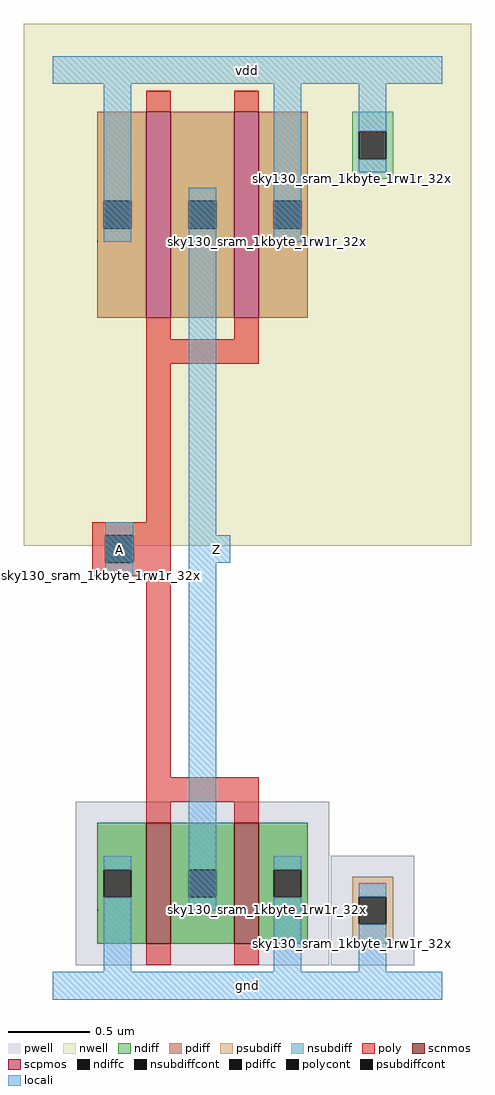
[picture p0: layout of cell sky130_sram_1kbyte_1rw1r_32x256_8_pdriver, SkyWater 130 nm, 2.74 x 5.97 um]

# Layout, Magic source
magic
tech sky130A
magscale 1 2
<< nwell >>
rect -36 538 512 1177
<< locali >>
rect 0 1103 476 1137
rect 64 501 98 567
rect 183 517 217 551
rect 0 -17 476 17
use sky130_sram_1kbyte_1rw1r_32x256_8_pinv  sky130_sram_1kbyte_1rw1r_32x256_8_pinv_0
transform 1 0 0 0 1 0
box -36 -17 512 1177
<< labels >>
rlabel locali s 200 534 200 534 4 Z
port 1 nsew
rlabel locali s 81 534 81 534 4 A
port 2 nsew
rlabel locali s 238 0 238 0 4 gnd
port 3 nsew
rlabel locali s 238 1120 238 1120 4 vdd
port 4 nsew
<< properties >>
string FIXED_BBOX 0 0 476 1120
string GDS_FILE $PDKPATH/libs.ref/sky130_sram_macros/gds/sky130_sram_1kbyte_1rw1r_32x256_8.gds
string GDS_END 62650
string GDS_START 61822
<< end >>

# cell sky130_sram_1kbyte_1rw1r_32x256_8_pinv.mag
magic
tech sky130A
magscale 1 2
<< nwell >>
rect -36 538 512 1177
<< pwell >>
rect 340 25 442 159
<< psubdiff >>
rect 366 109 416 133
rect 366 75 374 109
rect 408 75 416 109
rect 366 51 416 75
<< nsubdiff >>
rect 366 1045 416 1069
rect 366 1011 374 1045
rect 408 1011 416 1045
rect 366 987 416 1011
<< psubdiffcont >>
rect 374 75 408 109
<< nsubdiffcont >>
rect 374 1011 408 1045
<< poly >>
rect 114 567 144 761
rect 48 551 144 567
rect 48 517 64 551
rect 98 517 144 551
rect 48 501 144 517
rect 114 255 144 501
<< polycont >>
rect 64 517 98 551
<< locali >>
rect 0 1103 476 1137
rect 62 910 96 1103
rect 64 551 98 567
rect 64 501 98 517
rect 166 551 200 976
rect 270 910 304 1103
rect 374 1045 408 1103
rect 374 995 408 1011
rect 166 517 217 551
rect 166 92 200 517
rect 374 109 408 125
rect 62 17 96 92
rect 270 17 304 92
rect 374 17 408 75
rect 0 -17 476 17
use sky130_sram_1kbyte_1rw1r_32x256_8_contact_16  sky130_sram_1kbyte_1rw1r_32x256_8_contact_16_0
transform 1 0 48 0 1 501
box 0 0 1 1
use sky130_sram_1kbyte_1rw1r_32x256_8_contact_29  sky130_sram_1kbyte_1rw1r_32x256_8_contact_29_0
transform 1 0 366 0 1 51
box 0 0 1 1
use sky130_sram_1kbyte_1rw1r_32x256_8_contact_28  sky130_sram_1kbyte_1rw1r_32x256_8_contact_28_0
transform 1 0 366 0 1 987
box 0 0 1 1
use sky130_sram_1kbyte_1rw1r_32x256_8_nmos_m2_w0_740_sli_dli_da_p  sky130_sram_1kbyte_1rw1r_32x256_8_nmos_m2_w0_740_sli_dli_da_p_0
transform 1 0 54 0 1 51
box -26 -26 284 204
use sky130_sram_1kbyte_1rw1r_32x256_8_pmos_m2_w1_260_sli_dli_da_p  sky130_sram_1kbyte_1rw1r_32x256_8_pmos_m2_w1_260_sli_dli_da_p_0
transform 1 0 54 0 1 817
box -59 -56 317 306
<< labels >>
rlabel locali s 81 534 81 534 4 A
port 1 nsew
rlabel locali s 200 534 200 534 4 Z
port 2 nsew
rlabel locali s 238 0 238 0 4 gnd
port 3 nsew
rlabel locali s 238 1120 238 1120 4 vdd
port 4 nsew
<< properties >>
string FIXED_BBOX 0 0 476 1120
string GDS_FILE $PDKPATH/libs.ref/sky130_sram_macros/gds/sky130_sram_1kbyte_1rw1r_32x256_8.gds
string GDS_END 23556
string GDS_START 21558
<< end >>

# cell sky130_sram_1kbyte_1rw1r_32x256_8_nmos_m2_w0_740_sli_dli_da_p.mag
magic
tech sky130A
magscale 1 2
<< pwell >>
rect -26 -26 284 174
<< scnmos >>
rect 60 0 90 148
rect 168 0 198 148
<< ndiff >>
rect 0 91 60 148
rect 0 57 8 91
rect 42 57 60 91
rect 0 0 60 57
rect 90 91 168 148
rect 90 57 112 91
rect 146 57 168 91
rect 90 0 168 57
rect 198 91 258 148
rect 198 57 216 91
rect 250 57 258 91
rect 198 0 258 57
<< ndiffc >>
rect 8 57 42 91
rect 112 57 146 91
rect 216 57 250 91
<< poly >>
rect 60 174 198 204
rect 60 148 90 174
rect 168 148 198 174
rect 60 -26 90 0
rect 168 -26 198 0
<< locali >>
rect 8 91 42 107
rect 8 41 42 57
rect 112 91 146 107
rect 112 41 146 57
rect 216 91 250 107
rect 216 41 250 57
use sky130_sram_1kbyte_1rw1r_32x256_8_contact_11  sky130_sram_1kbyte_1rw1r_32x256_8_contact_11_0
transform 1 0 208 0 1 41
box 0 0 1 1
use sky130_sram_1kbyte_1rw1r_32x256_8_contact_11  sky130_sram_1kbyte_1rw1r_32x256_8_contact_11_1
transform 1 0 104 0 1 41
box 0 0 1 1
use sky130_sram_1kbyte_1rw1r_32x256_8_contact_11  sky130_sram_1kbyte_1rw1r_32x256_8_contact_11_2
transform 1 0 0 0 1 41
box 0 0 1 1
<< labels >>
rlabel locali s 233 74 233 74 4 S
port 1 nsew
rlabel locali s 25 74 25 74 4 S
port 1 nsew
rlabel locali s 129 74 129 74 4 D
port 2 nsew
rlabel poly s 129 189 129 189 4 G
port 3 nsew
<< properties >>
string FIXED_BBOX -25 -26 283 204
string GDS_FILE $PDKPATH/libs.ref/sky130_sram_macros/gds/sky130_sram_1kbyte_1rw1r_32x256_8.gds
string GDS_END 5496
string GDS_START 4454
<< end >>

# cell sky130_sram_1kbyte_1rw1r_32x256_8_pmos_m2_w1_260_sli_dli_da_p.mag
magic
tech sky130A
magscale 1 2
<< nwell >>
rect -54 210 312 306
rect -59 42 317 210
rect -54 -54 312 42
<< scpmos >>
rect 60 0 90 252
rect 168 0 198 252
<< pdiff >>
rect 0 143 60 252
rect 0 109 8 143
rect 42 109 60 143
rect 0 0 60 109
rect 90 143 168 252
rect 90 109 112 143
rect 146 109 168 143
rect 90 0 168 109
rect 198 143 258 252
rect 198 109 216 143
rect 250 109 258 143
rect 198 0 258 109
<< pdiffc >>
rect 8 109 42 143
rect 112 109 146 143
rect 216 109 250 143
<< poly >>
rect 60 252 90 278
rect 168 252 198 278
rect 60 -26 90 0
rect 168 -26 198 0
rect 60 -56 198 -26
<< locali >>
rect 8 143 42 159
rect 8 93 42 109
rect 112 143 146 159
rect 112 93 146 109
rect 216 143 250 159
rect 216 93 250 109
use sky130_sram_1kbyte_1rw1r_32x256_8_contact_12  sky130_sram_1kbyte_1rw1r_32x256_8_contact_12_0
transform 1 0 208 0 1 93
box 0 0 1 1
use sky130_sram_1kbyte_1rw1r_32x256_8_contact_12  sky130_sram_1kbyte_1rw1r_32x256_8_contact_12_1
transform 1 0 104 0 1 93
box 0 0 1 1
use sky130_sram_1kbyte_1rw1r_32x256_8_contact_12  sky130_sram_1kbyte_1rw1r_32x256_8_contact_12_2
transform 1 0 0 0 1 93
box 0 0 1 1
<< labels >>
rlabel locali s 233 126 233 126 4 S
port 1 nsew
rlabel locali s 25 126 25 126 4 S
port 1 nsew
rlabel locali s 129 126 129 126 4 D
port 2 nsew
rlabel poly s 129 -41 129 -41 4 G
port 3 nsew
<< properties >>
string FIXED_BBOX -54 -56 312 42
string GDS_FILE $PDKPATH/libs.ref/sky130_sram_macros/gds/sky130_sram_1kbyte_1rw1r_32x256_8.gds
string GDS_END 6696
string GDS_START 5590
<< end >>
